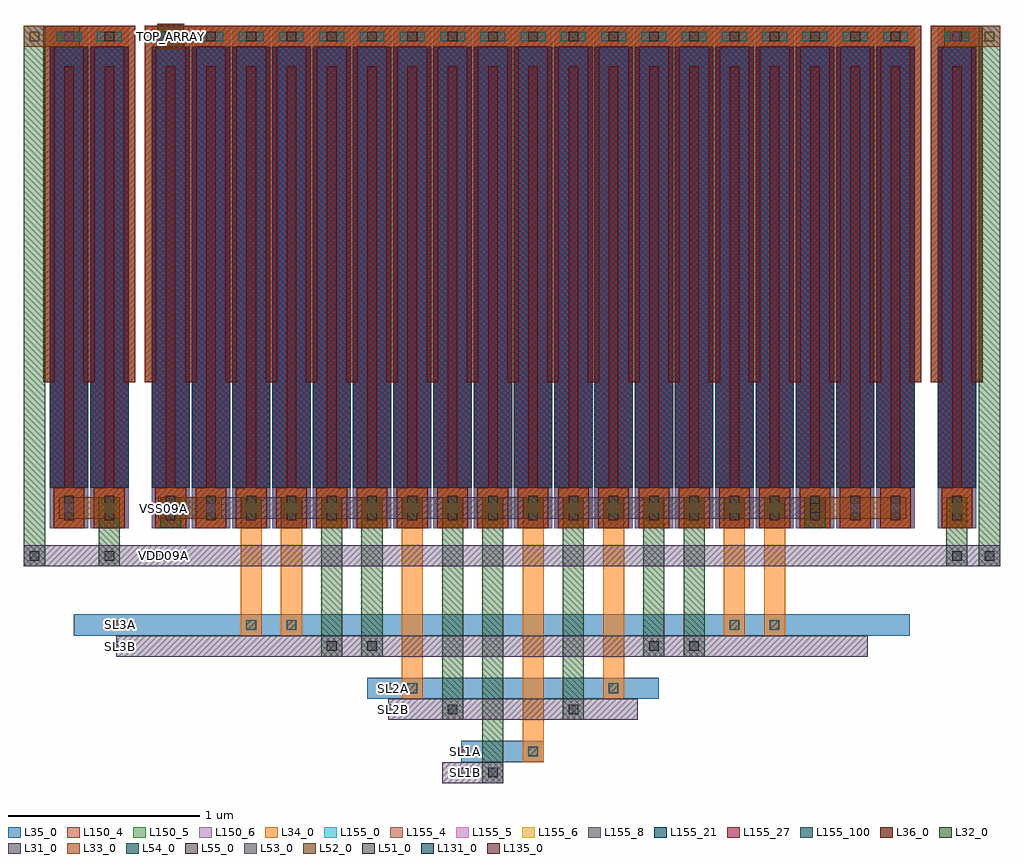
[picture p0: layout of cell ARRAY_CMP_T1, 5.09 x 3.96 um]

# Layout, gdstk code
from math import pi, radians
import gdstk
lib = gdstk.Library(unit=1e-6, precision=1e-09)
def R(c, l, rs):  # rectangles x0, y0, x1, y1
    for r in rs: c.add(gdstk.rectangle(r[:2], r[2:], *l))
def A(c, l, x, y, w, h, nx, ny, dx, dy):  # array of equal rectangles
    R(c, l, [(x+i*dx, y+j*dy, x+i*dx+w, y+j*dy+h) for i in range(nx) for j in range(ny)])
L31_0 = (31, 0)
L32_0 = (32, 0)
L33_0 = (33, 0)
L34_0 = (34, 0)
L35_0 = (35, 0)
L36_0 = (36, 0)
L51_0 = (51, 0)
L52_0 = (52, 0)
L53_0 = (53, 0)
L54_0 = (54, 0)
L55_0 = (55, 0)
L131_0 = (131, 0)
L135_0 = (135, 0)
L150_4 = (150, 4)
L150_5 = (150, 5)
L150_6 = (150, 6)
L155_0 = (155, 0)
L155_4 = (155, 4)
L155_5 = (155, 5)
L155_6 = (155, 6)
L155_8 = (155, 8)
L155_21 = (155, 21)
L155_27 = (155, 27)
L155_100 = (155, 100)

m5_m4_cdns_615963393367 = lib.new_cell('M5_M4_CDNS_615963393367')
R(m5_m4_cdns_615963393367, L34_0, [(-0.07,-0.105,0.07,0.105)])
R(m5_m4_cdns_615963393367, L35_0, [(-0.07,-0.105,0.07,0.105)])
R(m5_m4_cdns_615963393367, L54_0, [(-0.025,-0.065,0.025,0.065)])

m6_m5_cdns_615963393368 = lib.new_cell('M6_M5_CDNS_615963393368')
R(m6_m5_cdns_615963393368, L35_0, [(-0.07,-0.105,0.07,0.105)])
R(m6_m5_cdns_615963393368, L36_0, [(-0.055,-0.105,0.055,0.105)])
R(m6_m5_cdns_615963393368, L55_0, [(-0.025,-0.065,0.025,0.065)])

m5_m4_cdns_615963393369 = lib.new_cell('M5_M4_CDNS_615963393369')
R(m5_m4_cdns_615963393369, L34_0, [(-0.095,-0.055,0.095,0.055)])
R(m5_m4_cdns_615963393369, L35_0, [(-0.12,-0.055,0.12,0.055)])
R(m5_m4_cdns_615963393369, L54_0, [(-0.065,-0.025,0.065,0.025)])

m6_m5_cdns_6159633933610 = lib.new_cell('M6_M5_CDNS_6159633933610')
R(m6_m5_cdns_6159633933610, L35_0, [(-0.055,-0.055,0.055,0.055)])
R(m6_m5_cdns_6159633933610, L36_0, [(-0.055,-0.055,0.055,0.055)])
R(m6_m5_cdns_6159633933610, L55_0, [(-0.025,-0.025,0.025,0.025)])

cu1f = lib.new_cell('CU1F')
R(cu1f, L34_0, [(0.02,0,0.18,0.21), (-0.035,2.51,0.235,2.62)])
R(cu1f, L35_0, [(0.02,0,0.18,0.21), (-0.035,2.51,0.235,2.62)])
R(cu1f, L36_0, [(0.02,0,0.18,0.21), (-0.035,2.51,0.235,2.62)])
R(cu1f, L150_4, [(0,0,0.2,2.62)])
R(cu1f, L150_5, [(0,0,0.2,2.62)])
R(cu1f, L150_6, [(0,0,0.2,2.62)])
R(cu1f, L155_0, [(0,0.21,0.2,2.51)])
R(cu1f, L155_4, [(0,0.21,0.2,2.51)])
R(cu1f, L155_5, [(0,0.21,0.2,2.51)])
R(cu1f, L155_6, [(0,0.21,0.2,2.51)])
R(cu1f, L155_8, [(0,0.21,0.2,2.51)])
R(cu1f, L155_21, [(0,0.21,0.2,2.51)])
R(cu1f, L155_27, [(0,0.21,0.2,2.51)])
R(cu1f, L155_100, [(0,0.21,0.2,2.51)])
cu1f.add(gdstk.FlexPath([(0.205,2.59),(0.205,0.76)], 0.06, ends=(0.03, 0), simple_path=True, layer=34, datatype=0))  # L34_0
cu1f.add(gdstk.FlexPath([(0.1,2.41),(0.1,0)], 0.05, ends="flush", simple_path=True, layer=34, datatype=0))  # L34_0
cu1f.add(gdstk.FlexPath([(-0.005,2.59),(-0.005,0.76)], 0.06, ends=(0.03, 0), simple_path=True, layer=34, datatype=0))  # L34_0
cu1f.add(gdstk.FlexPath([(0.205,0.76),(0.205,2.59)], 0.06, ends=(0, 0.03), simple_path=True, layer=35, datatype=0))  # L35_0
cu1f.add(gdstk.FlexPath([(0.1,2.41),(0.1,0)], 0.05, ends="flush", simple_path=True, layer=35, datatype=0))  # L35_0
cu1f.add(gdstk.FlexPath([(-0.005,0.76),(-0.005,2.59)], 0.06, ends=(0, 0.03), simple_path=True, layer=35, datatype=0))  # L35_0
cu1f.add(gdstk.FlexPath([(0.205,0.76),(0.205,2.59)], 0.06, ends=(0, 0.03), simple_path=True, layer=36, datatype=0))  # L36_0
cu1f.add(gdstk.FlexPath([(0.1,2.41),(0.1,0)], 0.05, ends="flush", simple_path=True, layer=36, datatype=0))  # L36_0
cu1f.add(gdstk.FlexPath([(-0.005,0.76),(-0.005,2.59)], 0.06, ends=(0, 0.03), simple_path=True, layer=36, datatype=0))  # L36_0
cu1f.add(gdstk.Reference(m5_m4_cdns_615963393367, (0.1,0.105), rotation=pi, x_reflection=True))
cu1f.add(gdstk.Reference(m6_m5_cdns_615963393368, (0.1,0.105), rotation=pi, x_reflection=True))
cu1f.add(gdstk.Reference(m5_m4_cdns_615963393369, (0.1,2.565)))
cu1f.add(gdstk.Reference(m6_m5_cdns_6159633933610, (0.1,2.565)))

m2_m1_cdns_615963393360 = lib.new_cell('M2_M1_CDNS_615963393360')
R(m2_m1_cdns_615963393360, L31_0, [(-0.055,-0.055,0.055,0.055)])
R(m2_m1_cdns_615963393360, L32_0, [(-0.055,-0.055,0.055,0.055)])
R(m2_m1_cdns_615963393360, L51_0, [(-0.025,-0.025,0.025,0.025)])

m3_m2_cdns_615963393361 = lib.new_cell('M3_M2_CDNS_615963393361')
R(m3_m2_cdns_615963393361, L32_0, [(-0.055,-0.055,0.055,0.055)])
R(m3_m2_cdns_615963393361, L33_0, [(-0.055,-0.055,0.055,0.055)])
R(m3_m2_cdns_615963393361, L52_0, [(-0.025,-0.025,0.025,0.025)])

m4_m3_cdns_615963393362 = lib.new_cell('M4_M3_CDNS_615963393362')
R(m4_m3_cdns_615963393362, L33_0, [(-0.055,-0.055,0.055,0.055)])
R(m4_m3_cdns_615963393362, L34_0, [(-0.055,-0.055,0.055,0.055)])
R(m4_m3_cdns_615963393362, L53_0, [(-0.025,-0.025,0.025,0.025)])

m4_m3_cdns_615963393363 = lib.new_cell('M4_M3_CDNS_615963393363')
R(m4_m3_cdns_615963393363, L33_0, [(-0.07,-0.065,0.07,0.065)])
R(m4_m3_cdns_615963393363, L34_0, [(-0.055,-0.055,0.055,0.055)])
R(m4_m3_cdns_615963393363, L53_0, [(-0.025,-0.025,0.025,0.025)])

m3_m2_cdns_615963393364 = lib.new_cell('M3_M2_CDNS_615963393364')
R(m3_m2_cdns_615963393364, L32_0, [(-0.065,-0.06,0.065,0.06)])
R(m3_m2_cdns_615963393364, L33_0, [(-0.07,-0.065,0.07,0.065)])
R(m3_m2_cdns_615963393364, L52_0, [(-0.025,-0.025,0.025,0.025)])

m2_m1_cdns_615963393365 = lib.new_cell('M2_M1_CDNS_615963393365')
R(m2_m1_cdns_615963393365, L31_0, [(-0.055,-0.055,0.055,0.055)])
R(m2_m1_cdns_615963393365, L32_0, [(-0.065,-0.06,0.065,0.06)])
R(m2_m1_cdns_615963393365, L51_0, [(-0.025,-0.025,0.025,0.025)])

m5_m4_cdns_615963393366 = lib.new_cell('M5_M4_CDNS_615963393366')
R(m5_m4_cdns_615963393366, L34_0, [(-0.055,-0.055,0.055,0.055)])
R(m5_m4_cdns_615963393366, L35_0, [(-0.055,-0.055,0.055,0.055)])
R(m5_m4_cdns_615963393366, L54_0, [(-0.025,-0.025,0.025,0.025)])

array_cmp_t1 = lib.new_cell('ARRAY_CMP_T1')
R(array_cmp_t1, L31_0, [(2.045,-1.33,2.365,-1.22), (1.765,-1,3.065,-0.89), (0.345,-0.67,4.265,-0.56), (-0.135,-0.2,4.955,-0.09), (0.565,0.05,4.045,0.16), (0.56,2.5,0.7,2.63)])
R(array_cmp_t1, L32_0, [(2.255,-1.33,2.365,0.16), (2.045,-1,2.155,0.16), (2.675,-1,2.785,0.16), (1.415,-0.67,1.525,0.16), (1.625,-0.67,1.735,0.16), (3.095,-0.67,3.205,0.16), (3.305,-0.67,3.415,0.16), (-0.135,-0.2,-0.025,2.62), (0.255,-0.2,0.365,0.16), (4.675,-0.2,4.785,0.16), (4.845,-0.2,4.955,2.62), (0.575,0,0.685,0.16), (3.935,0,4.045,0.16)])
A(array_cmp_t1, L33_0, 0.995, 0, 0.11, 0.16, 14, 1, 0.21, 0)
R(array_cmp_t1, L33_0, [(4.675,0,4.785,0.16), (0.045,0.05,0.365,0.16), (0.575,0.05,0.895,0.16), (3.935,0.05,4.465,0.16), (-0.135,2.51,0.155,2.62), (4.665,2.51,4.955,2.62)])
R(array_cmp_t1, L34_0, [(2.465,-1.22,2.575,0.16), (1.835,-0.89,1.945,0.16), (2.885,-0.89,2.995,0.16), (0.995,-0.56,1.105,0.16), (1.205,-0.56,1.315,0.16), (3.515,-0.56,3.625,0.16), (3.725,-0.56,3.835,0.16)])
R(array_cmp_t1, L35_0, [(2.145,-1.22,2.575,-1.11), (1.655,-0.89,3.175,-0.78), (0.125,-0.56,4.485,-0.45)])
R(array_cmp_t1, L131_0, [(2.145,-1.3,2.195,-1.25), (1.765,-0.97,1.815,-0.92), (0.345,-0.64,0.395,-0.59), (0.565,-0.17,0.615,-0.12), (0.565,0.08,0.615,0.13), (0.605,2.54,0.655,2.59)])
R(array_cmp_t1, L135_0, [(2.145,-1.19,2.195,-1.14), (1.765,-0.86,1.815,-0.81), (0.345,-0.53,0.395,-0.48)])
array_cmp_t1.add(gdstk.Reference(cu1f, (0,0)))
array_cmp_t1.add(gdstk.Reference(cu1f, (0.21,0)))
array_cmp_t1.add(gdstk.Reference(cu1f, (0.53,0)))
array_cmp_t1.add(gdstk.Reference(cu1f, (0.74,0)))
array_cmp_t1.add(gdstk.Reference(cu1f, (4.63,0)))
array_cmp_t1.add(gdstk.Reference(cu1f, (4.31,0)))
array_cmp_t1.add(gdstk.Reference(cu1f, (4.1,0)))
array_cmp_t1.add(gdstk.Reference(cu1f, (3.89,0)))
array_cmp_t1.add(gdstk.Reference(cu1f, (3.68,0)))
array_cmp_t1.add(gdstk.Reference(cu1f, (3.47,0)))
array_cmp_t1.add(gdstk.Reference(cu1f, (3.26,0)))
array_cmp_t1.add(gdstk.Reference(cu1f, (3.05,0)))
array_cmp_t1.add(gdstk.Reference(cu1f, (2.84,0)))
array_cmp_t1.add(gdstk.Reference(cu1f, (2.63,0)))
array_cmp_t1.add(gdstk.Reference(cu1f, (2.42,0)))
array_cmp_t1.add(gdstk.Reference(cu1f, (2.21,0)))
array_cmp_t1.add(gdstk.Reference(cu1f, (2,0)))
array_cmp_t1.add(gdstk.Reference(cu1f, (1.79,0)))
array_cmp_t1.add(gdstk.Reference(cu1f, (1.58,0)))
array_cmp_t1.add(gdstk.Reference(cu1f, (1.37,0)))
array_cmp_t1.add(gdstk.Reference(cu1f, (1.16,0)))
array_cmp_t1.add(gdstk.Reference(cu1f, (0.95,0)))
array_cmp_t1.add(gdstk.Reference(m2_m1_cdns_615963393360, (4.9,-0.145)))
array_cmp_t1.add(gdstk.Reference(m2_m1_cdns_615963393360, (-0.08,-0.145)))
array_cmp_t1.add(gdstk.Reference(m2_m1_cdns_615963393360, (3.99,0.105)))
array_cmp_t1.add(gdstk.Reference(m2_m1_cdns_615963393360, (4.73,-0.145)))
array_cmp_t1.add(gdstk.Reference(m2_m1_cdns_615963393360, (0.31,-0.145)))
array_cmp_t1.add(gdstk.Reference(m2_m1_cdns_615963393360, (2.31,-1.275)))
array_cmp_t1.add(gdstk.Reference(m2_m1_cdns_615963393360, (2.1,-0.945)))
array_cmp_t1.add(gdstk.Reference(m2_m1_cdns_615963393360, (2.73,-0.945)))
array_cmp_t1.add(gdstk.Reference(m2_m1_cdns_615963393360, (1.68,-0.615)))
array_cmp_t1.add(gdstk.Reference(m2_m1_cdns_615963393360, (1.47,-0.615)))
array_cmp_t1.add(gdstk.Reference(m2_m1_cdns_615963393360, (3.15,-0.615)))
array_cmp_t1.add(gdstk.Reference(m2_m1_cdns_615963393360, (3.36,-0.615)))
array_cmp_t1.add(gdstk.Reference(m2_m1_cdns_615963393360, (0.63,0.105)))
array_cmp_t1.add(gdstk.Reference(m3_m2_cdns_615963393361, (4.9,2.565)))
array_cmp_t1.add(gdstk.Reference(m3_m2_cdns_615963393361, (-0.08,2.565)))
array_cmp_t1.add(gdstk.Reference(m3_m2_cdns_615963393361, (1.05,0.105)))
array_cmp_t1.add(gdstk.Reference(m3_m2_cdns_615963393361, (1.26,0.105)))
array_cmp_t1.add(gdstk.Reference(m3_m2_cdns_615963393361, (1.47,0.105)))
array_cmp_t1.add(gdstk.Reference(m3_m2_cdns_615963393361, (1.68,0.105)))
array_cmp_t1.add(gdstk.Reference(m3_m2_cdns_615963393361, (1.89,0.105)))
array_cmp_t1.add(gdstk.Reference(m3_m2_cdns_615963393361, (2.1,0.105)))
array_cmp_t1.add(gdstk.Reference(m3_m2_cdns_615963393361, (2.31,0.105)))
array_cmp_t1.add(gdstk.Reference(m3_m2_cdns_615963393361, (2.52,0.105)))
array_cmp_t1.add(gdstk.Reference(m3_m2_cdns_615963393361, (2.73,0.105)))
array_cmp_t1.add(gdstk.Reference(m3_m2_cdns_615963393361, (2.94,0.105)))
array_cmp_t1.add(gdstk.Reference(m3_m2_cdns_615963393361, (3.15,0.105)))
array_cmp_t1.add(gdstk.Reference(m3_m2_cdns_615963393361, (3.36,0.105)))
array_cmp_t1.add(gdstk.Reference(m3_m2_cdns_615963393361, (3.57,0.105)))
array_cmp_t1.add(gdstk.Reference(m3_m2_cdns_615963393361, (3.78,0.105)))
array_cmp_t1.add(gdstk.Reference(m3_m2_cdns_615963393361, (4.73,0.105)))
array_cmp_t1.add(gdstk.Reference(m3_m2_cdns_615963393361, (3.99,0.105)))
array_cmp_t1.add(gdstk.Reference(m3_m2_cdns_615963393361, (0.63,0.105)))
array_cmp_t1.add(gdstk.Reference(m3_m2_cdns_615963393361, (0.31,0.105)))
array_cmp_t1.add(gdstk.Reference(m4_m3_cdns_615963393362, (4.72,2.565), rotation=pi, x_reflection=True))
array_cmp_t1.add(gdstk.Reference(m4_m3_cdns_615963393362, (0.1,2.565)))
array_cmp_t1.add(gdstk.Reference(m4_m3_cdns_615963393362, (1.05,0.105)))
array_cmp_t1.add(gdstk.Reference(m4_m3_cdns_615963393362, (1.26,0.105)))
array_cmp_t1.add(gdstk.Reference(m4_m3_cdns_615963393362, (1.47,0.105)))
array_cmp_t1.add(gdstk.Reference(m4_m3_cdns_615963393362, (1.68,0.105)))
array_cmp_t1.add(gdstk.Reference(m4_m3_cdns_615963393362, (1.89,0.105)))
array_cmp_t1.add(gdstk.Reference(m4_m3_cdns_615963393362, (2.1,0.105)))
array_cmp_t1.add(gdstk.Reference(m4_m3_cdns_615963393362, (2.31,0.105)))
array_cmp_t1.add(gdstk.Reference(m4_m3_cdns_615963393362, (2.52,0.105)))
array_cmp_t1.add(gdstk.Reference(m4_m3_cdns_615963393362, (2.73,0.105)))
array_cmp_t1.add(gdstk.Reference(m4_m3_cdns_615963393362, (2.94,0.105)))
array_cmp_t1.add(gdstk.Reference(m4_m3_cdns_615963393362, (3.15,0.105)))
array_cmp_t1.add(gdstk.Reference(m4_m3_cdns_615963393362, (3.36,0.105)))
array_cmp_t1.add(gdstk.Reference(m4_m3_cdns_615963393362, (3.57,0.105)))
array_cmp_t1.add(gdstk.Reference(m4_m3_cdns_615963393362, (3.78,0.105)))
array_cmp_t1.add(gdstk.Reference(m4_m3_cdns_615963393362, (4.73,0.105)))
array_cmp_t1.add(gdstk.Reference(m4_m3_cdns_615963393362, (4.2,0.105)))
array_cmp_t1.add(gdstk.Reference(m4_m3_cdns_615963393362, (4.41,0.105)))
array_cmp_t1.add(gdstk.Reference(m4_m3_cdns_615963393362, (3.99,0.105)))
array_cmp_t1.add(gdstk.Reference(m4_m3_cdns_615963393362, (0.84,0.105)))
array_cmp_t1.add(gdstk.Reference(m4_m3_cdns_615963393362, (0.63,0.105)))
array_cmp_t1.add(gdstk.Reference(m4_m3_cdns_615963393362, (0.1,0.105)))
array_cmp_t1.add(gdstk.Reference(m4_m3_cdns_615963393362, (0.31,0.105)))
array_cmp_t1.add(gdstk.Reference(m4_m3_cdns_615963393363, (0.63,2.565)))
array_cmp_t1.add(gdstk.Reference(m3_m2_cdns_615963393364, (0.63,2.565)))
array_cmp_t1.add(gdstk.Reference(m2_m1_cdns_615963393365, (0.63,2.565)))
array_cmp_t1.add(gdstk.Reference(m5_m4_cdns_615963393366, (1.89,-0.835)))
array_cmp_t1.add(gdstk.Reference(m5_m4_cdns_615963393366, (2.94,-0.835)))
array_cmp_t1.add(gdstk.Reference(m5_m4_cdns_615963393366, (2.52,-1.165)))
array_cmp_t1.add(gdstk.Reference(m5_m4_cdns_615963393366, (3.78,-0.505)))
array_cmp_t1.add(gdstk.Reference(m5_m4_cdns_615963393366, (1.26,-0.505)))
array_cmp_t1.add(gdstk.Reference(m5_m4_cdns_615963393366, (3.57,-0.505)))
array_cmp_t1.add(gdstk.Reference(m5_m4_cdns_615963393366, (1.05,-0.505)))
array_cmp_t1.add(gdstk.Label('SL3A', (0.37,-0.505), layer=135, texttype=0))
array_cmp_t1.add(gdstk.Label('SL1A', (2.17,-1.165), layer=135, texttype=0))
array_cmp_t1.add(gdstk.Label('SL2A', (1.79,-0.835), layer=135, texttype=0))
array_cmp_t1.add(gdstk.Label('VDD09A', (0.59,-0.145), layer=131, texttype=0))
array_cmp_t1.add(gdstk.Label('SL3B', (0.37,-0.615), layer=131, texttype=0))
array_cmp_t1.add(gdstk.Label('VSS09A', (0.59,0.105), layer=131, texttype=0))
array_cmp_t1.add(gdstk.Label('SL1B', (2.17,-1.275), layer=131, texttype=0))
array_cmp_t1.add(gdstk.Label('SL2B', (1.79,-0.945), layer=131, texttype=0))
array_cmp_t1.add(gdstk.Label('TOP_ARRAY', (0.628,2.565), layer=131, texttype=0))

lib.write_gds('ARRAY_CMP_T1.gds')
